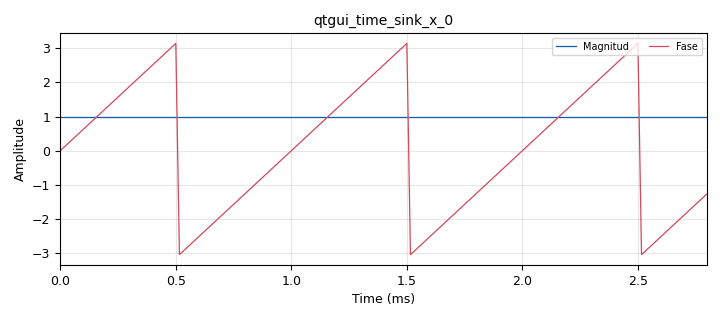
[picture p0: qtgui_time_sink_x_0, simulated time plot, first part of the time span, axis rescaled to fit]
options:
  parameters:
    generate_options: qt_gui
    id: Ejercicio_5C
    output_language: python
    title: Not titled yet
  states: {}

blocks:
- name: samp_rate
  id: variable
  parameters:
    value: '32000'
  states: {}
- name: analog_sig_source_x_0
  id: analog_sig_source_x
  parameters:
    amp: '1'
    freq: '1000'
    offset: '0'
    phase: '0'
    samp_rate: '64000'
    type: complex
    waveform: analog.GR_SIN_WAVE
  states: {}
- name: blocks_complex_to_magphase_0
  id: blocks_complex_to_magphase
  parameters: {}
  states: {}
- name: qtgui_time_sink_x_0
  id: qtgui_time_sink_x
  parameters:
    label1: Magnitud
    label2: Fase
    nconnections: '2'
    size: '1024'
    srate: '64000'
    type: float
  states: {}

connections:
- [analog_sig_source_x_0, '0', blocks_complex_to_magphase_0, '0']
- [blocks_complex_to_magphase_0, '0', qtgui_time_sink_x_0, '0']
- [blocks_complex_to_magphase_0, '1', qtgui_time_sink_x_0, '1']

metadata:
  file_format: 1
  grc_version: 3.10.12.0
